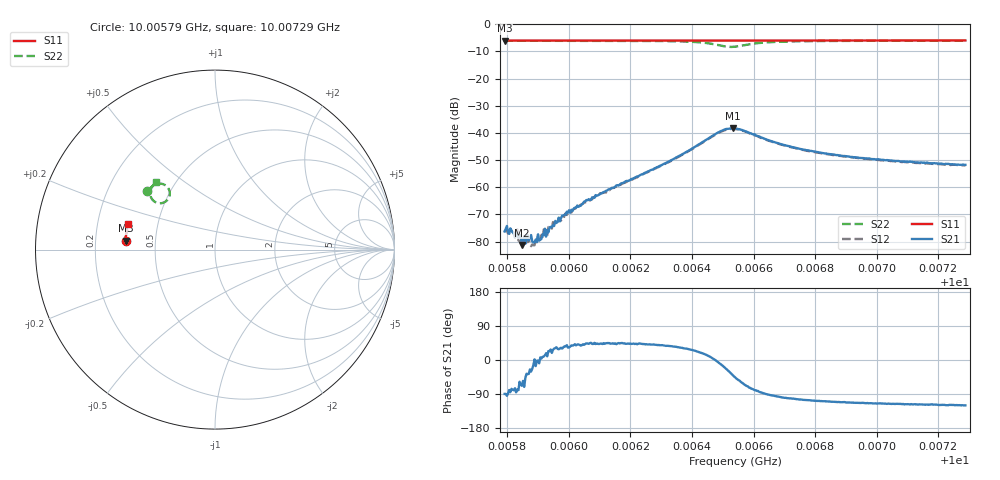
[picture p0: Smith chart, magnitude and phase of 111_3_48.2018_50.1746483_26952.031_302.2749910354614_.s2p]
#  HZ  S  RI  R  50.00
! Rohde & Schwarz Vector Network Analyzer
! Rohde-Schwarz,ZNB20-2Port,1311601062101988,3.16
! Created: UTC 3/20/2024, 11:41:00 AM
! freq[Hz]  re:S11  im:S11  re:S21  im:S21  re:S12  im:S12  re:S22  im:S22
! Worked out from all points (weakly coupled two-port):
!   401 points, 10.00579 GHz to 10.00729 GHz, reference 50 ohm
!   highest |S21| = -38.31 dB at 10.00653 GHz (marker M1); lowest = -81.2 dB at 10.00585 GHz (marker M2)
!   lowest |S11| = -6.0 dB at 10.00579 GHz (marker M3), VSWR 3.01, Z = 16.7 + j2.18 ohm
!   |S11| at or under -10 dB: nowhere
!   |S22| runs from -8.3 to -6.0 dB; largest |S21 - S12| = 0.00092
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1.0005791e10  -0.4986 0.049  1.29e-06 -0.000154  9.15e-06 -0.000165  -0.3769 0.325
1.0005806e10  -0.4987 0.0502  2.62e-05 -0.000136  2.91e-05 -0.000167  -0.3762 0.326
1.0005825e10  -0.4985 0.0512  3.15e-05 -0.000113  4.82e-05 -0.000121  -0.3752 0.3271
1.0005848e10  -0.4986 0.0527  3.25e-05 -8.05e-05  4.31e-05 -7.71e-05  -0.374 0.3286
1.0005855e10  -0.4984 0.0534  4.13e-05 -0.00012  6.94e-05 -6.87e-05  -0.3736 0.3291
1.000587e10  -0.4984 0.0542  8.45e-05 -6.25e-05  9.98e-05 -4e-05  -0.373 0.33
1.0005889e10  -0.4983 0.0553  9.57e-05 2.84e-06  8.09e-05 -2.81e-05  -0.3718 0.3312
1.0005911e10  -0.4982 0.0568  0.000112 7.79e-06  0.000133 6.6e-06  -0.3704 0.3326
1.0005937e10  -0.4979 0.0586  0.000168 7.25e-05  0.000173 5.95e-05  -0.3689 0.3344
1.0005956e10  -0.4978 0.0599  0.000206 0.000125  0.000204 0.00011  -0.3678 0.3356
1.0005986e10  -0.4977 0.0619  0.000251 0.000184  0.000227 0.000202  -0.366 0.3376
1.0006042e10  -0.4972 0.0653  0.000379 0.000306  0.000319 0.000364  -0.3622 0.3415
1.0006293e10  -0.4954 0.0817  0.00187 0.00155  0.00175 0.00162  -0.3345 0.3619
1.0006416e10  -0.4938 0.0897  0.00543 0.00225  0.00517 0.00244  -0.2943 0.3663
1.0006487e10  -0.4926 0.0941  0.0103 -0.00129  0.0101 -0.000779  -0.2532 0.325
1.0006532e10  -0.4921 0.0962  0.00932 -0.00779  0.00967 -0.0072  -0.2744 0.2683
1.000654e10  -0.4921 0.0966  0.00851 -0.00864  0.00866 -0.00789  -0.284 0.263
1.0006622e10  -0.492 0.1017  0.000752 -0.00835  0.00111 -0.00811  -0.354 0.2859
1.0006693e10  -0.4913 0.1064  -0.000922 -0.00604  -0.000606 -0.006  -0.3612 0.3146
1.000679e10  -0.4904 0.1127  -0.00136 -0.00443  -0.00112 -0.00436  -0.357 0.3359
1.0007041e10  -0.4869 0.1288  -0.00134 -0.00282  -0.0012 -0.00282  -0.342 0.3621
1.0007288e10  -0.483 0.1441  -0.00128 -0.00225  -0.00114 -0.00227  -0.3282 0.378
